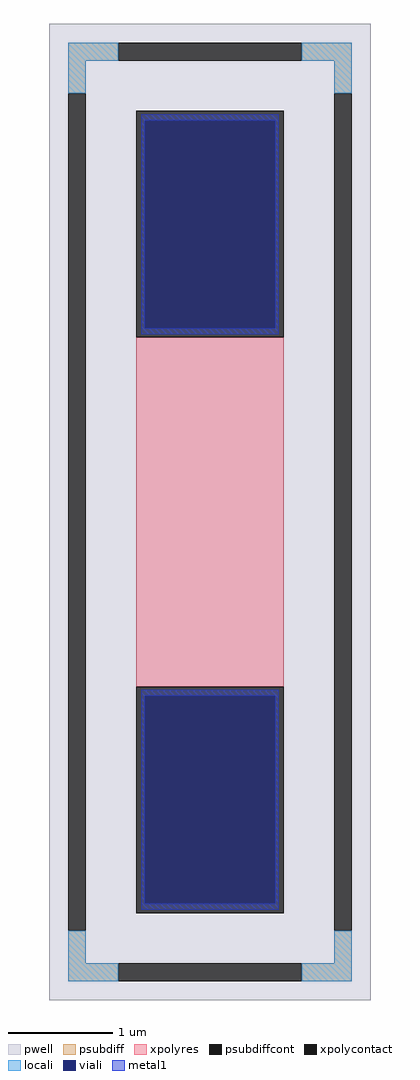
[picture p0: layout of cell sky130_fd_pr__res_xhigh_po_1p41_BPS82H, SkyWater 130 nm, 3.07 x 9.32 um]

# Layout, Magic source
magic
tech sky130A
magscale 1 2
<< pwell >>
rect -307 -932 307 932
<< psubdiff >>
rect -271 862 -175 896
rect 175 862 271 896
rect -271 800 -237 862
rect 237 800 271 862
rect -271 -862 -237 -800
rect 237 -862 271 -800
rect -271 -896 -175 -862
rect 175 -896 271 -862
<< psubdiffcont >>
rect -175 862 175 896
rect -271 -800 -237 800
rect 237 -800 271 800
rect -175 -896 175 -862
<< xpolycontact >>
rect -141 334 141 766
rect -141 -766 141 -334
<< xpolyres >>
rect -141 -334 141 334
<< locali >>
rect -271 862 -175 896
rect 175 862 271 896
rect -271 800 -237 862
rect 237 800 271 862
rect -271 -862 -237 -800
rect 237 -862 271 -800
rect -271 -896 -175 -862
rect 175 -896 271 -862
<< viali >>
rect -125 351 125 748
rect -125 -748 125 -351
<< metal1 >>
rect -131 748 131 760
rect -131 351 -125 748
rect 125 351 131 748
rect -131 339 131 351
rect -131 -351 131 -339
rect -131 -748 -125 -351
rect 125 -748 131 -351
rect -131 -760 131 -748
<< properties >>
string FIXED_BBOX -254 -879 254 879
string gencell sky130_fd_pr__res_xhigh_po_1p41
string library sky130
string parameters w 1.410 l 3.5 m 1 nx 1 wmin 1.410 lmin 0.50 rho 2000 val 5.231k dummy 0 dw 0.0 term 188.2 sterm 0.0 caplen 0 wmax 1.410 guard 1 glc 1 grc 1 gtc 1 gbc 1 compatible {sky130_fd_pr__res_xhigh_po_0p35  sky130_fd_pr__res_xhigh_po_0p69 sky130_fd_pr__res_xhigh_po_1p41  sky130_fd_pr__res_xhigh_po_2p85 sky130_fd_pr__res_xhigh_po_5p73} snake 0 full_metal 1 n_guard 0 hv_guard 0 vias 1 viagb 0 viagt 0 viagl 0 viagr 0
<< end >>
